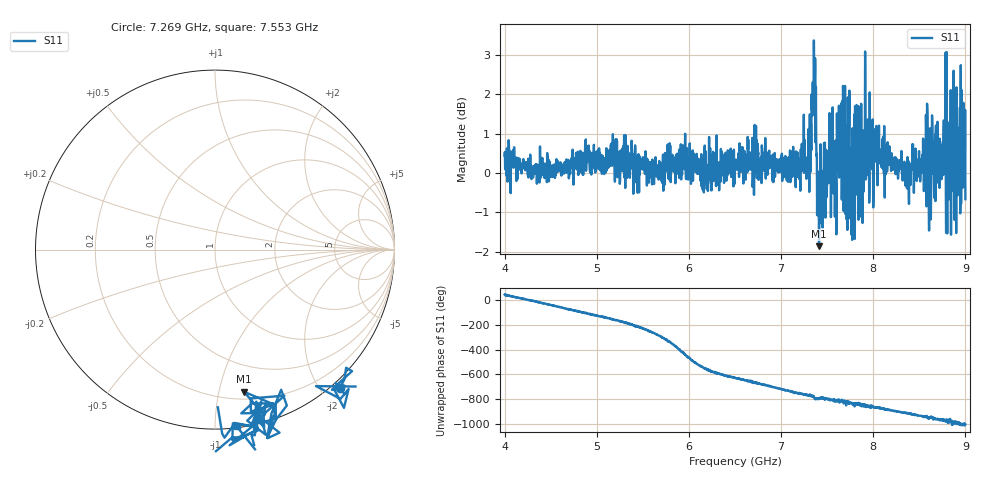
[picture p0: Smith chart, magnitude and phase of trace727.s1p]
! Created with skrf 1.8.0 (http://scikit-rf.org).
# Hz S RI R 50.0
!freq ReS11 ImS11
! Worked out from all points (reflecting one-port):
!   1601 points, 4 GHz to 9 GHz, reference 50 ohm
!   lowest |S11| = -1.9 dB at 7.412 GHz (marker M1), VSWR 9.37, Z = 13.1 - j59.4 ohm
!   phase of S11 starts at 48 deg and turns -1053 deg over the sweep
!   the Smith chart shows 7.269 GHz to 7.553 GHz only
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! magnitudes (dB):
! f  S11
! 4 GHz  0.4
! 4.625 GHz  0.0
! 5.25 GHz  -0.3
! 5.875 GHz  0.2
! 6.5 GHz  0.3
! 7.125 GHz  0.3
! 7.294 GHz  0.2
! 7.356 GHz  3.4
! 7.412 GHz  -1.9
! 7.534 GHz  0.5
! 7.588 GHz  0.1
! 7.65 GHz  0.8
! 7.75 GHz  -0.2
! 7.775 GHz  1.1
! 7.8 GHz  -1.7
! 7.875 GHz  0.3
! 7.928 GHz  1.3
! 7.981 GHz  0.2
! 8.038 GHz  0.6
! 8.375 GHz  -0.2
! 8.566 GHz  -0.2
! 8.603 GHz  -0.8
! 8.656 GHz  0.8
! 8.772 GHz  0.1
! 8.919 GHz  -0.5
! 8.956 GHz  0.4
! 8.972 GHz  0.8
! 9 GHz  -0.7
